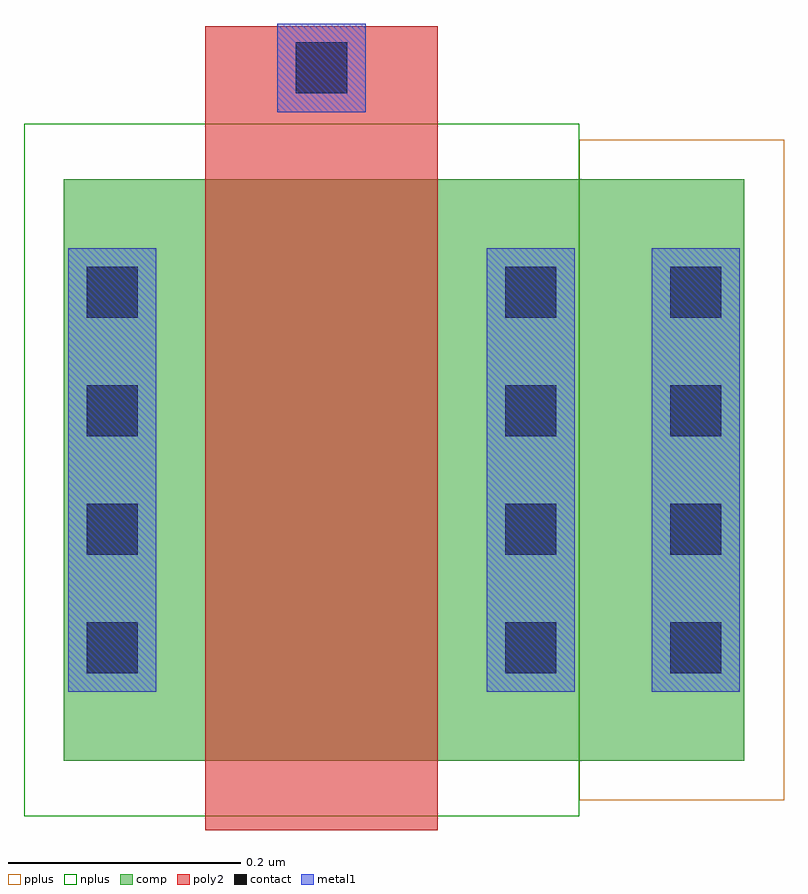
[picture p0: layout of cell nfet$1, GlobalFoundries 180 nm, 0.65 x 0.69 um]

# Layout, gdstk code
import gdstk
lib = gdstk.Library(unit=1e-6, precision=1e-09)
def R(c, l, rs):  # rectangles x0, y0, x1, y1
    for r in rs: c.add(gdstk.rectangle(r[:2], r[2:], *l))
def A(c, l, x, y, w, h, nx, ny, dx, dy):  # array of equal rectangles
    R(c, l, [(x+i*dx, y+j*dy, x+i*dx+w, y+j*dy+h) for i in range(nx) for j in range(ny)])
comp = (22, 0)
poly2 = (30, 0)
pplus = (31, 0)
nplus = (32, 0)
contact = (33, 0)
metal1 = (34, 0)

nfet_1 = lib.new_cell('nfet$1')
R(nfet_1, comp, [(-0.084,0,0,0.5), (0,0,0.276,0.5), (0.276,0,0.36,0.5), (0.36,0,0.502,0.5)])
R(nfet_1, poly2, [(0.038,-0.06,0.238,0.56), (0.038,0.56,0.238,0.632)])
R(nfet_1, pplus, [(0.36,-0.034,0.536,0.534)])
R(nfet_1, nplus, [(-0.118,-0.048,0.36,0.548)])
A(nfet_1, contact, -0.064, 0.075, 0.044, 0.044, 1, 4, 0, 0.102)
A(nfet_1, contact, 0.296, 0.075, 0.044, 0.044, 1, 4, 0, 0.102)
A(nfet_1, contact, 0.438, 0.075, 0.044, 0.044, 1, 4, 0, 0.102)
R(nfet_1, contact, [(0.116,0.574,0.16,0.618)])
R(nfet_1, metal1, [(-0.08,0.059,-0.004,0.441), (0.28,0.059,0.356,0.441), (0.422,0.059,0.498,0.441), (0.1,0.558,0.176,0.634)])

lib.write_gds('nfet_1.gds')
